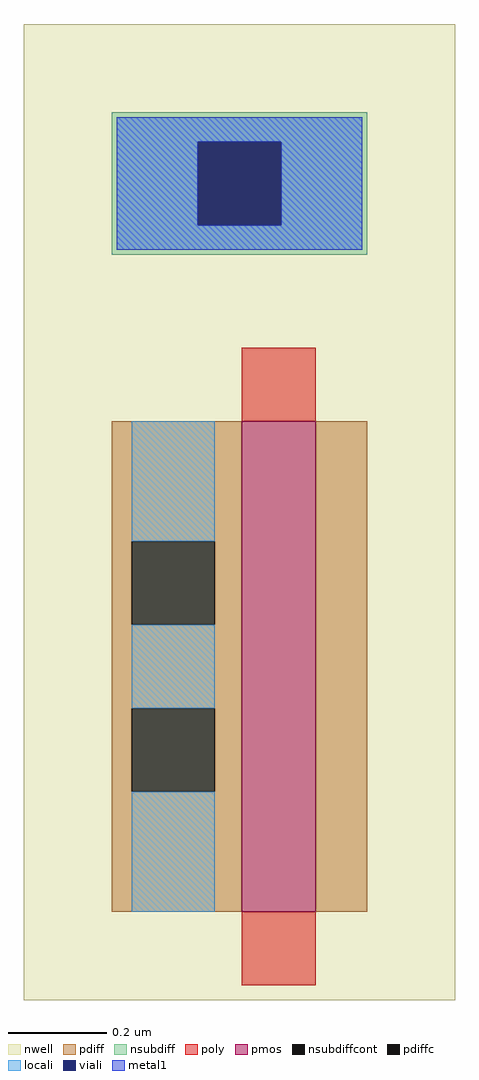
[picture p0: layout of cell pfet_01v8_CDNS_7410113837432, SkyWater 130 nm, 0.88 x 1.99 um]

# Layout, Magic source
magic
tech sky130A
magscale 1 2
<< nwell >>
rect -89 -36 87 362
<< pmos >>
rect 0 0 30 200
<< pdiff >>
rect -53 151 0 200
rect -53 117 -45 151
rect -11 117 0 151
rect -53 83 0 117
rect -53 49 -45 83
rect -11 49 0 83
rect -53 0 0 49
rect 30 0 51 200
<< pdiffc >>
rect -45 117 -11 151
rect -45 49 -11 83
<< nsubdiff >>
rect -53 314 51 326
rect -53 280 -18 314
rect 16 280 51 314
rect -53 268 51 280
<< nsubdiffcont >>
rect -18 280 16 314
<< poly >>
rect 0 200 30 230
rect 0 -30 30 0
<< locali >>
rect -51 314 49 324
rect -51 280 -18 314
rect 16 280 49 314
rect -51 270 49 280
rect -45 151 -11 200
rect -45 83 -11 117
rect -45 0 -11 49
<< viali >>
rect -18 280 16 314
<< metal1 >>
rect -51 314 49 324
rect -51 280 -18 314
rect 16 280 49 314
rect -51 270 49 280
<< end >>
